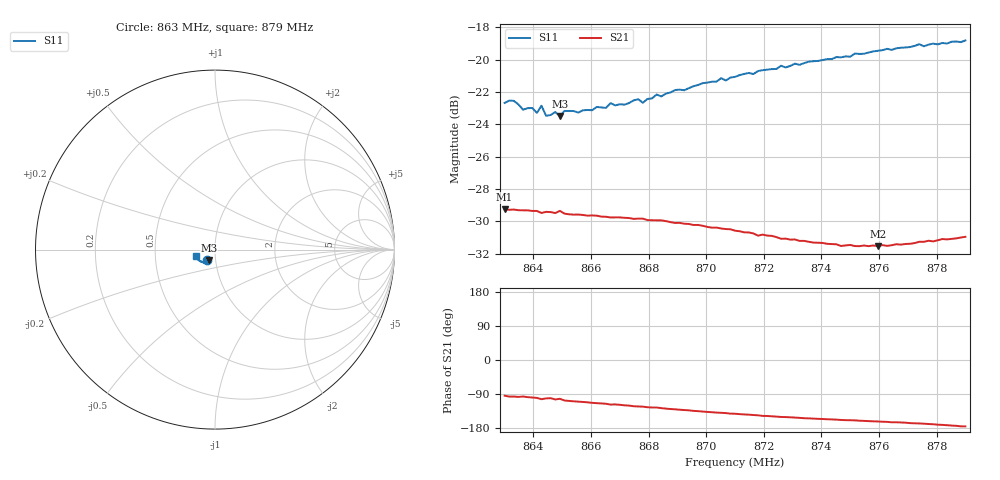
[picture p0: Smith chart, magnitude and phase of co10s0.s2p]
# HZ S RI R 50
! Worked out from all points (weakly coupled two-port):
!   101 points, 863 MHz to 879 MHz, reference 50 ohm
!   highest |S21| = -29.26 dB at 863 MHz (marker M1); lowest = -31.5 dB at 875.96 MHz (marker M2)
!   lowest |S11| = -23.5 dB at 864.92 MHz (marker M3), VSWR 1.14, Z = 46.5 - j5.41 ohm
!   |S11| at or under -10 dB: start of sweep to end of sweep
!   S12 and S22 are empty: the file has one direction only
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8.63e8  -0.0459 -0.0575  -0.00253 -0.0344  0 0  0 0
8.6332e8  -0.0477 -0.0574  -0.00384 -0.0342  0 0  0 0
8.6364e8  -0.0415 -0.0565  -0.00375 -0.034  0 0  0 0
8.6396e8  -0.0426 -0.0567  -0.00531 -0.0337  0 0  0 0
8.6412e8  -0.0392 -0.0562  -0.00594 -0.0336  0 0  0 0
8.6428e8  -0.0413 -0.0591  -0.00778 -0.0327  0 0  0 0
8.6444e8  -0.0372 -0.0559  -0.00666 -0.0332  0 0  0 0
8.6476e8  -0.0392 -0.0567  -0.00818 -0.0325  0 0  0 0
8.6492e8  -0.0335 -0.058  -0.00734 -0.0333  0 0  0 0
8.6508e8  -0.0389 -0.0576  -0.0097 -0.032  0 0  0 0
8.6572e8  -0.0373 -0.059  -0.0117 -0.031  0 0  0 0
8.6716e8  -0.0366 -0.0628  -0.016 -0.0282  0 0  0 0
8.6764e8  -0.0389 -0.0647  -0.0174 -0.0272  0 0  0 0
8.678e8  -0.0381 -0.063  -0.0176 -0.027  0 0  0 0
8.6828e8  -0.0401 -0.067  -0.0184 -0.026  0 0  0 0
8.6844e8  -0.0396 -0.0661  -0.0192 -0.0255  0 0  0 0
8.6892e8  -0.0411 -0.0694  -0.0202 -0.0239  0 0  0 0
8.71e8  -0.052 -0.0717  -0.0233 -0.0183  0 0  0 0
8.7372e8  -0.0702 -0.0699  -0.0246 -0.0117  0 0  0 0
8.7596e8  -0.0868 -0.0619  -0.0252 -0.0081  0 0  0 0
8.7644e8  -0.0904 -0.0579  -0.0257 -0.00717  0 0  0 0
8.79e8  -0.1083 -0.0381  -0.0282 -0.00237  0 0  0 0
